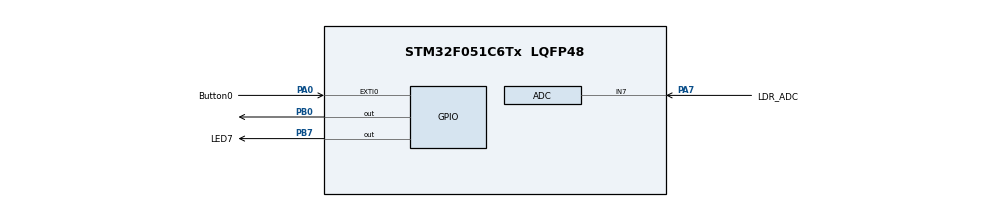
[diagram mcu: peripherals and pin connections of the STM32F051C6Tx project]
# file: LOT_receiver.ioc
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ADC.Resolution=ADC_RESOLUTION_12B
Mcu.Family=STM32F0
Mcu.Name=STM32F051C6Tx
Mcu.Package=LQFP48
PA0.GPIO_Label=Button0
PA0.GPIO_PuPd=GPIO_PULLUP
PA0.Signal=GPXTI0
PA13.Mode=Serial_Wire
PA13.Signal=SYS_SWDIO
PA14.Mode=Serial_Wire
PA14.Signal=SYS_SWCLK
PA7.GPIO_Label=LDR_ADC
PA7.Mode=IN7
PA7.Signal=ADC_IN7
PB0.Signal=GPIO_Output
PB7.GPIO_Label=LED7
PB7.Signal=GPIO_Output
PF0-OSC_IN.Mode=HSE-External-Oscillator
PF0-OSC_IN.Signal=RCC_OSC_IN
PF1-OSC_OUT.Mode=HSE-External-Oscillator
PF1-OSC_OUT.Signal=RCC_OSC_OUT
ProjectManager.HeapSize=0x200
ProjectManager.StackSize=0x400
ProjectManager.TargetToolchain=STM32CubeIDE
TIM16.AutoReloadPreload=TIM_AUTORELOAD_PRELOAD_ENABLE
TIM16.Period=1000-1
TIM16.Prescaler=8000-1
TIM3.Period=47999
VP_TIM16_VS_ClockSourceINT.Mode=Enable_Timer
VP_TIM3_VS_ClockSourceINT.Mode=Internal
board=custom

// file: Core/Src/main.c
/* USER CODE BEGIN Header */
/**
 ******************************************************************************
 * @file           : main.c
 * @brief          : Main program body
 ******************************************************************************
 * @attention
 *
 * Copyright (c) 2023 STMicroelectronics.
 * All rights reserved.
 *
 * This software is licensed under terms that can be found in the LICENSE file
 * in the root directory of this software component.
 * If no LICENSE file comes with this software, it is provided AS-IS.
 *
 ******************************************************************************
 */
/* USER CODE END Header */
#include "main.h"

/* USER CODE BEGIN Includes */
#include <math.h>
#include <stdio.h>
#include <lcd_stm32f0.c>
#include "stm32f0xx.h"

/* USER CODE END Includes */

/* USER CODE BEGIN PTD */
typedef uint8_t flag_t;
/* USER CODE END PTD */

/* USER CODE BEGIN PD */

// The maximum ADC value that is recorded as a 0.
#define MID_PULSE 1000
/* USER CODE END PD */

ADC_HandleTypeDef hadc;

TIM_HandleTypeDef htim3;
TIM_HandleTypeDef htim16;

/* USER CODE BEGIN PV */
uint32_t prev_millis;
uint32_t curr_millis;
uint32_t delay_t = 500;	 // Initialise delay to 500ms
uint32_t adc_val;		 // stores the bit from the ADC
uint32_t receivedData;	 // The received data is stored here
uint8_t num_messages;
uint8_t succes;

enum state_t { IDLE,
			   READY,
			   RECEIVING,
			   DONE };
enum state_t current_state;

enum mode_t { TRANSMISSION,
			  VALIDATION } current_mode;
/* USER CODE END PV */

void SystemClock_Config(void);
static void MX_GPIO_Init(void);
static void MX_ADC_Init(void);
static void MX_TIM3_Init(void);
static void MX_TIM16_Init(void);
/* USER CODE BEGIN PFP */
void EXTI0_1_IRQHandler(void);
void EXTI2_3_IRQHandler(void);
void TIM16_IRQHandler(void);
char* Dec2RadixI(int decValue, int radValue, char* output_string);
// void writeLCD(char* char_in);
uint32_t pollADC(void);
uint8_t readBit(void);
// void displayValue();
void displayLCD();
// char* startListening();
/* USER CODE END PFP */

int main(void) {
	/* USER CODE BEGIN 1 */
	current_state = IDLE;
	prev_millis = 0;
	curr_millis = 0;
	receivedData = 0;
	/* USER CODE END 1 */

	/* MCU Configuration--------------------------------------------------------*/

	/* Reset of all peripherals, Initializes the Flash interface and the Systick. */
	HAL_Init();

	/* Configure the system clock */
	SystemClock_Config();

	/* Initialize all configured peripherals */
	MX_GPIO_Init();
	MX_ADC_Init();
	MX_TIM3_Init();
	MX_TIM16_Init();
	/* USER CODE BEGIN 2 */
	init_LCD();

	/* USER CODE END 2 */

	/* Infinite loop */
	/* USER CODE BEGIN WHILE */
	while (1) {
		adc_val = readBit();
		displayLCD();
		HAL_Delay(500);
		/* USER CODE END WHILE */
	}
}

void displayLCD() {
	lcd_command(CLEAR);
	char value[17];

	switch (current_state) {
		case IDLE:
			lcd_putstring("Press sw0");
			lcd_command(LINE_TWO);
			sprintf(value, "msgs: %lu", num_messages);
			lcd_putstring(value);
			break;
		case READY:
			sprintf(value, "waiting %lu", pollADC());
			lcd_putstring(value);
			break;
		case RECEIVING:
			sprintf(value, "receiving %lu", pollADC());
			lcd_putstring(value);
			lcd_command(LINE_TWO);
			sprintf(value, "################");
			Dec2RadixI(receivedData, 2, value);
			lcd_putstring(value);
			break;
		case DONE:
			if (current_mode == VALIDATION) {
				if (succes) {
					lcd_putstring("data correct");
				} else{
					lcd_putstring("data invalid");
				}
			}

			sprintf(value, "data: %lu", receivedData);
			lcd_putstring(value);
			lcd_command(LINE_TWO);
			sprintf(value, "samples: %lu", num_messages);
			lcd_putstring(value);
			break;
	}
}

void EXTI2_3_IRQHandler(void) {
	curr_millis = HAL_GetTick();
	// Check if the button might be a double press
	if (curr_millis - prev_millis < 100) {
		HAL_GPIO_EXTI_IRQHandler(Button0_Pin);	// Clear interrupt flags
		return;
	}
	prev_millis = HAL_GetTick();

	switch (current_state) {
		case IDLE:
			current_state = READY;
			current_mode = VALIDATION;
			HAL_TIM_Base_Start_IT(&htim16);	 // Start the timer
			break;
		case DONE:
			receivedData = 0;
			current_state = IDLE;
		default:
			break;
	}
}

/**
 * @brief This code runs whenever sw0 is clicked.
 *
 */
void EXTI0_1_IRQHandler(void) {
	// TODO: Start receiving the data
	curr_millis = HAL_GetTick();
	// Check if the button might be a double press
	if (curr_millis - prev_millis < 100) {
		HAL_GPIO_EXTI_IRQHandler(Button0_Pin);	// Clear interrupt flags
		return;
	}
	prev_millis = HAL_GetTick();

	switch (current_state) {
		case IDLE:
			current_state = READY;
			current_mode = TRANSMISSION;
			HAL_TIM_Base_Start_IT(&htim16);	 // Start the timer
			break;

		case DONE:
			receivedData = 0;
			current_state = IDLE;
		default:
			break;
	}

	HAL_GPIO_EXTI_IRQHandler(Button0_Pin);	// Clear interrupt flags
}

void TIM16_IRQHandler(void) {
	flag_t bit = adc_val;
	static uint8_t counter = 0;

	if (current_mode == TRANSMISSION) {
		switch (current_state) {
			case READY:
				if (bit == 0) {
					current_state = RECEIVING;
				}
				break;
			case RECEIVING:
				receivedData += bit << counter;
				counter++;

				if (counter == 17)
					current_state = DONE;
				break;

			case DONE:
				num_messages++;
				counter = 0;
				HAL_TIM_Base_Stop_IT(&htim16);
				break;
			default:
				break;
		}

		/* code */
	} else {
		switch (current_state) {
			case READY:
				if (bit == 0) {
					current_state = RECEIVING;
				}
				break;
			case RECEIVING:
				receivedData += bit << counter;
				counter++;

				if (counter == 8)
					current_state = DONE;
				break;

			case DONE:
				// num_messages++;
				if (num_messages == receivedData) {
					HAL_GPIO_WritePin(GPIOB, GPIO_PIN_0, 1);
					succes = 1;
				} else{
					succes = 0;
				}

				counter = 0;
				HAL_TIM_Base_Stop_IT(&htim16);
				break;
			default:
				break;
		}
	}

	HAL_TIM_IRQHandler(&htim16);
}

/*
 * This function calculates the value of the decValue represented in base radValue as a
 * char array.
 */
char* Dec2RadixI(int decValue, int radValue, char* output_string) {
	// When decValue is zero, it returns "0" because 0 is 0 in any radix
	if (!decValue) {
		// char* output_string = malloc(2);
		output_string[0] = '0';	 // "0"
		output_string[1] = 0;	 // '\0'
		return output_string;
	}

	// int min_chars = ceil(log(decValue + 1) / log(radValue));  // The minimum number of characters required to represent the value

	const char characters[] = "0123456789ABCDEF";  // The characters used in representing the bases

	// char* output_string = malloc(min_chars + 1);  // Get space for the digits
	output_string += 16;  // go to the end of the array
	*output_string = 0;	  // put a null terminator at the end of the array

	while (decValue) {
		--output_string;								   // go one byte back
		*output_string = characters[decValue % radValue];  // put the remainder of decValue/radValue in the position
		decValue /= radValue;							   // divide decValue by radValue
	}

	return output_string;
}

void SystemClock_Config(void) {
	LL_FLASH_SetLatency(LL_FLASH_LATENCY_0);
	while (LL_FLASH_GetLatency() != LL_FLASH_LATENCY_0) {
	}
	LL_RCC_HSI_Enable();

	/* Wait till HSI is ready */
	while (LL_RCC_HSI_IsReady() != 1) {
	}
	LL_RCC_HSI_SetCalibTrimming(16);
	LL_RCC_HSI14_Enable();

	/* Wait till HSI14 is ready */
	while (LL_RCC_HSI14_IsReady() != 1) {
	}
	LL_RCC_HSI14_SetCalibTrimming(16);
	LL_RCC_SetAHBPrescaler(LL_RCC_SYSCLK_DIV_1);
	LL_RCC_SetAPB1Prescaler(LL_RCC_APB1_DIV_1);
	LL_RCC_SetSysClkSource(LL_RCC_SYS_CLKSOURCE_HSI);

	/* Wait till System clock is ready */
	while (LL_RCC_GetSysClkSource() != LL_RCC_SYS_CLKSOURCE_STATUS_HSI) {
	}
	LL_SetSystemCoreClock(8000000);

	/* Update the time base */
	if (HAL_InitTick(TICK_INT_PRIORITY) != HAL_OK) {
		Error_Handler();
	}
	LL_RCC_HSI14_EnableADCControl();
}

static void MX_ADC_Init(void) {

	ADC_ChannelConfTypeDef sConfig = {0};

	/** Configure the global features of the ADC (Clock, Resolution, Data Alignment and number of conversion)
	 */
	hadc.Instance = ADC1;
	hadc.Init.ClockPrescaler = ADC_CLOCK_ASYNC_DIV1;
	hadc.Init.Resolution = ADC_RESOLUTION_12B;
	hadc.Init.DataAlign = ADC_DATAALIGN_RIGHT;
	hadc.Init.ScanConvMode = ADC_SCAN_DIRECTION_FORWARD;
	hadc.Init.EOCSelection = ADC_EOC_SINGLE_CONV;
	hadc.Init.LowPowerAutoWait = DISABLE;
	hadc.Init.LowPowerAutoPowerOff = DISABLE;
	hadc.Init.ContinuousConvMode = DISABLE;
	hadc.Init.DiscontinuousConvMode = DISABLE;
	hadc.Init.ExternalTrigConv = ADC_SOFTWARE_START;
	hadc.Init.ExternalTrigConvEdge = ADC_EXTERNALTRIGCONVEDGE_NONE;
	hadc.Init.DMAContinuousRequests = DISABLE;
	hadc.Init.Overrun = ADC_OVR_DATA_PRESERVED;
	if (HAL_ADC_Init(&hadc) != HAL_OK) {
		Error_Handler();
	}

	/** Configure for the selected ADC regular channel to be converted.
	 */
	sConfig.Channel = ADC_CHANNEL_7;
	sConfig.Rank = ADC_RANK_CHANNEL_NUMBER;
	sConfig.SamplingTime = ADC_SAMPLETIME_1CYCLE_5;
	if (HAL_ADC_ConfigChannel(&hadc, &sConfig) != HAL_OK) {
		Error_Handler();
	}
	/* USER CODE BEGIN ADC_Init 2 */
	ADC1->CR |= ADC_CR_ADCAL;
	while (ADC1->CR & ADC_CR_ADCAL)
		;				   // Calibrate the ADC
	ADC1->CR |= (1 << 0);  // Enable ADC
	while ((ADC1->ISR & (1 << 0)) == 0)
		;  // Wait for ADC ready
		   /* USER CODE END ADC_Init 2 */
}

static void MX_TIM3_Init(void) {

	TIM_ClockConfigTypeDef sClockSourceConfig = {0};
	TIM_MasterConfigTypeDef sMasterConfig = {0};

	htim3.Instance = TIM3;
	htim3.Init.Prescaler = 0;
	htim3.Init.CounterMode = TIM_COUNTERMODE_UP;
	htim3.Init.Period = 47999;
	htim3.Init.ClockDivision = TIM_CLOCKDIVISION_DIV1;
	htim3.Init.AutoReloadPreload = TIM_AUTORELOAD_PRELOAD_DISABLE;
	if (HAL_TIM_Base_Init(&htim3) != HAL_OK) {
		Error_Handler();
	}
	sClockSourceConfig.ClockSource = TIM_CLOCKSOURCE_INTERNAL;
	if (HAL_TIM_ConfigClockSource(&htim3, &sClockSourceConfig) != HAL_OK) {
		Error_Handler();
	}
	sMasterConfig.MasterOutputTrigger = TIM_TRGO_RESET;
	sMasterConfig.MasterSlaveMode = TIM_MASTERSLAVEMODE_DISABLE;
	if (HAL_TIMEx_MasterConfigSynchronization(&htim3, &sMasterConfig) != HAL_OK) {
		Error_Handler();
	}
}

static void MX_TIM16_Init(void) {

	htim16.Instance = TIM16;
	htim16.Init.Prescaler = 8000 - 1;
	htim16.Init.CounterMode = TIM_COUNTERMODE_UP;
	htim16.Init.Period = 1000 - 1;
	htim16.Init.ClockDivision = TIM_CLOCKDIVISION_DIV1;
	htim16.Init.RepetitionCounter = 0;
	htim16.Init.AutoReloadPreload = TIM_AUTORELOAD_PRELOAD_ENABLE;
	if (HAL_TIM_Base_Init(&htim16) != HAL_OK) {
		Error_Handler();
	}
	/* USER CODE BEGIN TIM16_Init 2 */
	HAL_NVIC_SetPriority(TIM16_IRQn, 0, 0);
	HAL_NVIC_EnableIRQ(TIM16_IRQn);
	/* USER CODE END TIM16_Init 2 */
}

static void MX_GPIO_Init(void) {
	LL_EXTI_InitTypeDef EXTI_InitStruct = {0};
	LL_GPIO_InitTypeDef GPIO_InitStruct = {0};

	/* GPIO Ports Clock Enable */
	LL_AHB1_GRP1_EnableClock(LL_AHB1_GRP1_PERIPH_GPIOF);
	LL_AHB1_GRP1_EnableClock(LL_AHB1_GRP1_PERIPH_GPIOA);
	LL_AHB1_GRP1_EnableClock(LL_AHB1_GRP1_PERIPH_GPIOB);

	/**/
	LL_GPIO_ResetOutputPin(GPIOB, LL_GPIO_PIN_0);

	/**/
	LL_GPIO_ResetOutputPin(LED7_GPIO_Port, LED7_Pin);

	/**/
	LL_SYSCFG_SetEXTISource(LL_SYSCFG_EXTI_PORTA, LL_SYSCFG_EXTI_LINE0);

	/**/
	LL_GPIO_SetPinPull(Button0_GPIO_Port, Button0_Pin, LL_GPIO_PULL_UP);

	/**/
	LL_GPIO_SetPinMode(Button0_GPIO_Port, Button0_Pin, LL_GPIO_MODE_INPUT);

	LL_GPIO_SetPinPull(Button2_GPIO_Port, Button2_Pin, LL_GPIO_PULL_UP);

	/**/
	LL_GPIO_SetPinMode(Button2_GPIO_Port, Button2_Pin, LL_GPIO_MODE_INPUT);

	/**/
	EXTI_InitStruct.Line_0_31 = LL_EXTI_LINE_0;
	EXTI_InitStruct.LineCommand = ENABLE;
	EXTI_InitStruct.Mode = LL_EXTI_MODE_IT;
	EXTI_InitStruct.Trigger = LL_EXTI_TRIGGER_RISING;
	LL_EXTI_Init(&EXTI_InitStruct);

	/**/
	EXTI_InitStruct.Line_0_31 = LL_EXTI_LINE_2;
	EXTI_InitStruct.LineCommand = ENABLE;
	EXTI_InitStruct.Mode = LL_EXTI_MODE_IT;
	EXTI_InitStruct.Trigger = LL_EXTI_TRIGGER_RISING;
	LL_EXTI_Init(&EXTI_InitStruct);

	/**/
	GPIO_InitStruct.Pin = LL_GPIO_PIN_0;
	GPIO_InitStruct.Mode = LL_GPIO_MODE_OUTPUT;
	GPIO_InitStruct.Speed = LL_GPIO_SPEED_FREQ_LOW;
	GPIO_InitStruct.OutputType = LL_GPIO_OUTPUT_PUSHPULL;
	GPIO_InitStruct.Pull = LL_GPIO_PULL_NO;
	LL_GPIO_Init(GPIOB, &GPIO_InitStruct);

	/**/
	GPIO_InitStruct.Pin = LED7_Pin;
	GPIO_InitStruct.Mode = LL_GPIO_MODE_OUTPUT;
	GPIO_InitStruct.Speed = LL_GPIO_SPEED_FREQ_LOW;
	GPIO_InitStruct.OutputType = LL_GPIO_OUTPUT_PUSHPULL;
	GPIO_InitStruct.Pull = LL_GPIO_PULL_NO;
	LL_GPIO_Init(LED7_GPIO_Port, &GPIO_InitStruct);

	/* USER CODE BEGIN MX_GPIO_Init_2 */
	HAL_NVIC_SetPriority(EXTI0_1_IRQn, 0, 0);
	HAL_NVIC_EnableIRQ(EXTI0_1_IRQn);
	HAL_NVIC_SetPriority(EXTI2_3_IRQn, 0, 0);
	HAL_NVIC_EnableIRQ(EXTI2_3_IRQn);
	/* USER CODE END MX_GPIO_Init_2 */
}

/* USER CODE BEGIN 4 */

uint8_t readBit(void) {
	uint32_t val = pollADC();
	if (val < MID_PULSE) {
		return 0;
	}
	return 1;
}

uint32_t pollADC(void) {
	// TODO: Complete function body to get ADC val
	HAL_ADC_Start(&hadc);					 // Start sampling
	uint32_t val = HAL_ADC_GetValue(&hadc);	 // Get ADC value
	HAL_ADC_Stop(&hadc);					 // Stop sampling
	return val;
}

void ADC1_COMP_IRQHandler(void) {
	// adc_val = HAL_ADC_GetValue(&hadc);	// read adc value
	HAL_ADC_IRQHandler(&hadc);	// Clear flags
}
/* USER CODE END 4 */

void Error_Handler(void) {
	__disable_irq();
	while (1) {
	}
}
